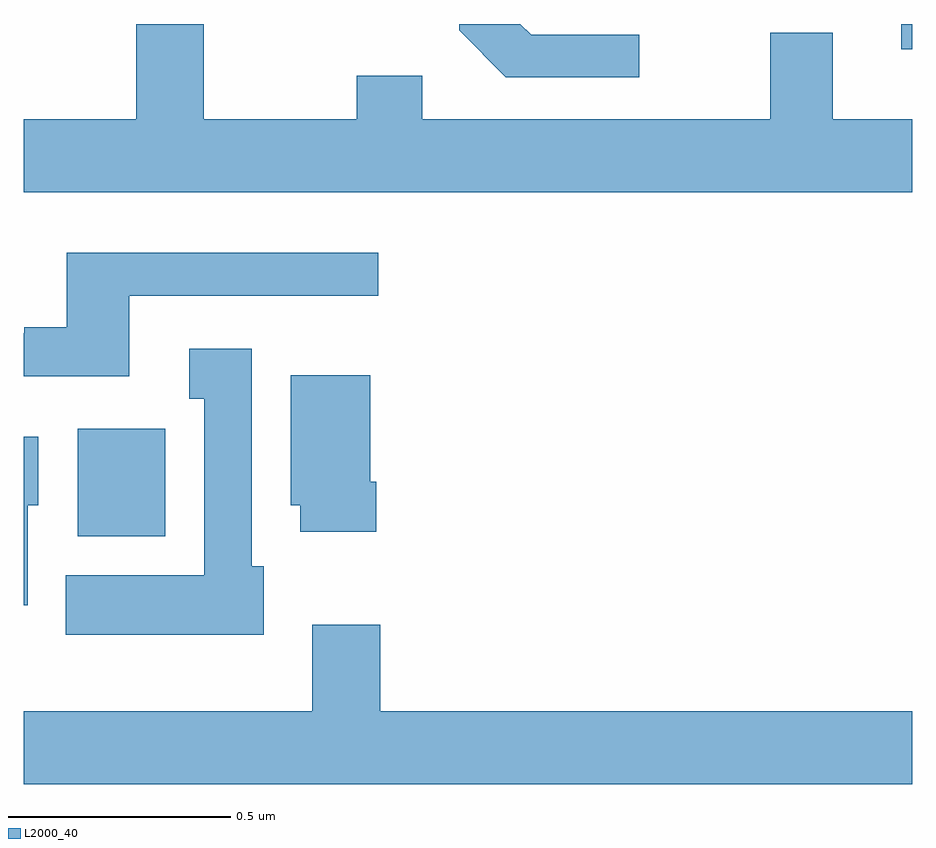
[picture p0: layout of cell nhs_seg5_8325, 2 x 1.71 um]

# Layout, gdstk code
import gdstk
lib = gdstk.Library(unit=1e-6, precision=1e-09)
def R(c, l, rs):  # rectangles x0, y0, x1, y1
    for r in rs: c.add(gdstk.rectangle(r[:2], r[2:], *l))
def P(c, l, *ps):  # polygons
    for p in ps: c.add(gdstk.Polygon(p, *l))
L2000_40 = (2000, 40)

nhs_seg5_8325 = lib.new_cell('nhs_seg5_8325')
R(nhs_seg5_8325, L2000_40, [(220.121,862.646,220.318,862.888), (221.975,863.742,222,863.799)])
P(nhs_seg5_8325, L2000_40, [(222,863.584),(221.821,863.584),(221.821,863.779),(221.681,863.779),(221.681,863.584),(220.897,863.584),(220.897,863.683),(220.75,863.683),(220.75,863.584),(220.405,863.584),(220.405,863.799),(220.253,863.799),(220.253,863.584),(220,863.584),(220,863.42),(222,863.42)],
  [(221.386,863.775),(221.142,863.775),(221.118,863.799),(220.98,863.799),(220.98,863.785),(221.085,863.679),(221.386,863.679)],
  [(220.237,863.187),(220.798,863.187),(220.798,863.284),(220.097,863.284),(220.097,863.116),(220.001,863.116),(220.001,863.103),(220,863.103),(220,863.006),(220.237,863.006)],
  [(220.54,862.578),(220.513,862.578),(220.513,863.068),(220.373,863.068),(220.373,862.955),(220.406,862.955),(220.406,862.558),(220.094,862.558),(220.094,862.424),(220.54,862.424)],
  [(220.793,862.768),(220.78,862.768),(220.78,863.008),(220.601,863.008),(220.601,862.716),(220.622,862.716),(220.622,862.656),(220.793,862.656)],
  [(220.009,862.716),(220.033,862.716),(220.033,862.87),(220,862.87),(220,862.49),(220.009,862.49)],
  [(222,862.252),(220.802,862.252),(220.802,862.447),(220.649,862.447),(220.649,862.252),(220,862.252),(220,862.088),(222,862.088)])

lib.write_gds('nhs_seg5_8325.gds')
